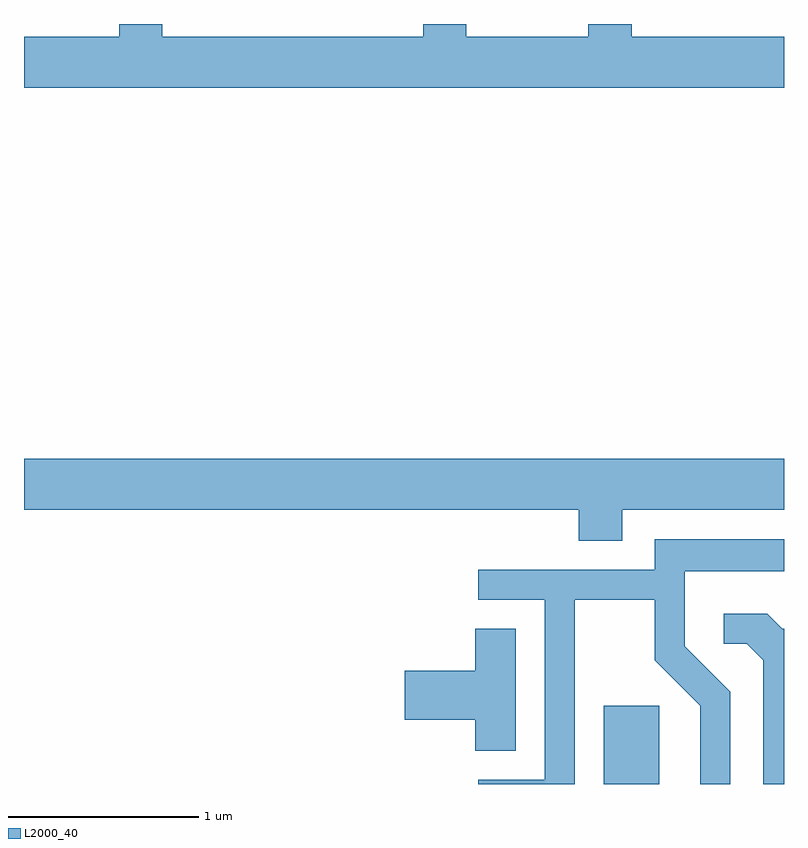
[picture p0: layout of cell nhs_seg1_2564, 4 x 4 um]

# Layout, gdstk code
import gdstk
lib = gdstk.Library(unit=1e-6, precision=1e-09)
def R(c, l, rs):  # rectangles x0, y0, x1, y1
    for r in rs: c.add(gdstk.rectangle(r[:2], r[2:], *l))
def P(c, l, *ps):  # polygons
    for p in ps: c.add(gdstk.Polygon(p, *l))
L2000_40 = (2000, 40)

nhs_seg1_2564 = lib.new_cell('nhs_seg1_2564')
R(nhs_seg1_2564, L2000_40, [(266.661,873.712,266.954,874.124)])
P(nhs_seg1_2564, L2000_40, [(267.611,877.644),(266.809,877.644),(266.809,877.712),(266.581,877.712),(266.581,877.644),(265.939,877.644),(265.939,877.712),(265.711,877.712),(265.711,877.644),(264.339,877.644),(264.339,877.712),(264.111,877.712),(264.111,877.644),(263.611,877.644),(263.611,877.376),(267.611,877.376)],
  [(266.759,875.156),(267.611,875.156),(267.611,875.424),(263.611,875.424),(263.611,875.156),(266.531,875.156),(266.531,874.991),(266.759,874.991)],
  [(266.509,874.681),(266.931,874.681),(266.931,874.364),(267.171,874.124),(267.171,873.712),(267.329,873.712),(267.329,874.197),(267.089,874.437),(267.089,874.831),(267.611,874.831),(267.611,874.999),(266.931,874.999),(266.931,874.839),(266.003,874.839),(266.003,874.681),(266.351,874.681),(266.351,873.734),(266.003,873.734),(266.003,873.712),(266.509,873.712)],
  [(267.611,874.529),(267.602,874.529),(267.522,874.609),(267.293,874.609),(267.293,874.451),(267.414,874.451),(267.501,874.364),(267.501,873.712),(267.611,873.712)],
  [(266.199,874.529),(265.986,874.529),(265.986,874.309),(265.616,874.309),(265.616,874.051),(265.986,874.051),(265.986,873.886),(266.199,873.886)])

lib.write_gds('nhs_seg1_2564.gds')
